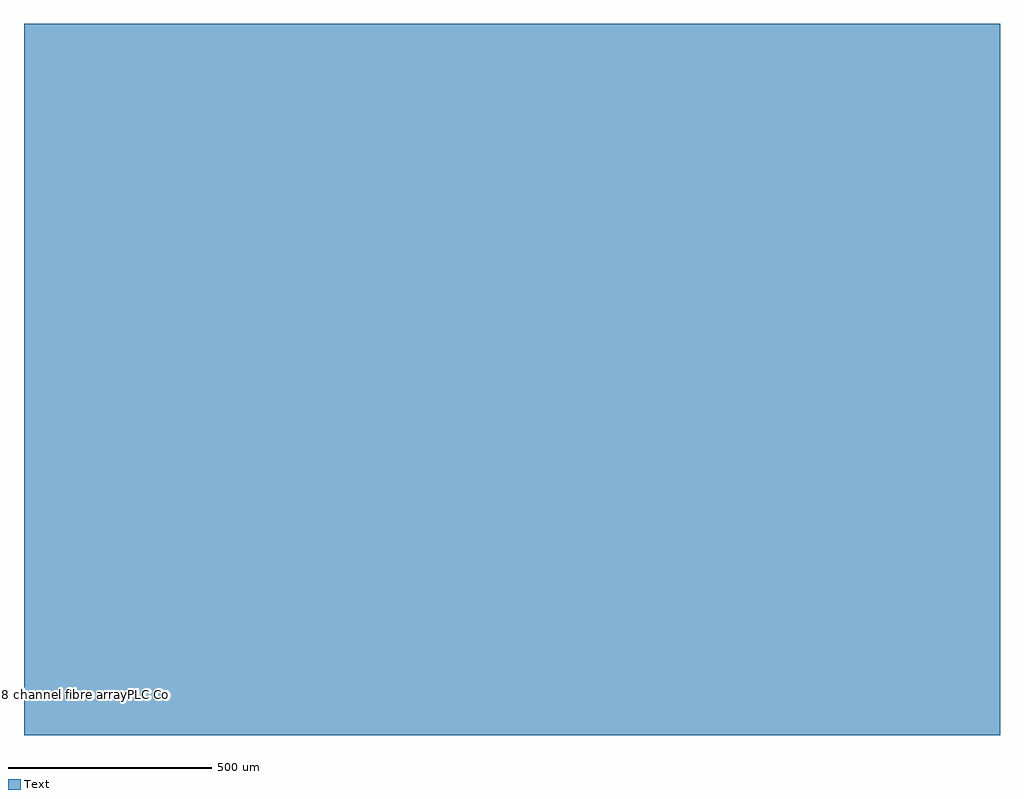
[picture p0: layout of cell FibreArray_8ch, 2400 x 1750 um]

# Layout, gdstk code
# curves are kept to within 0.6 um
import gdstk
lib = gdstk.Library(unit=1e-6, precision=1e-09)
def R(c, l, rs):  # rectangles x0, y0, x1, y1
    for r in rs: c.add(gdstk.rectangle(r[:2], r[2:], *l))
def P(c, l, *ps):  # polygons
    for p in ps: c.add(gdstk.Polygon(p, *l))
Text = (10, 0)

circle_1 = lib.new_cell('CIRCLE$1')
P(circle_1, Text, [(-3.07,-62.5),(-15.205,-60.7),(-26.754,-56.567),(-37.276,-50.261),(-46.365,-42.023),(-53.673,-32.17),(-58.917,-21.081),(-61.898,-9.182),(-62.5,3.07),(-60.7,15.205),(-56.567,26.754),(-50.261,37.276),(-42.023,46.365),(-32.17,53.673),(-21.081,58.917),(-9.182,61.898),(3.07,62.5),(15.205,60.7),(26.754,56.567),(37.276,50.261),(46.365,42.023),(53.673,32.17),(58.917,21.081),(61.898,9.182),(62.5,-3.07),(60.7,-15.205),(56.567,-26.754),(50.261,-37.276),(42.023,-46.365),(32.17,-53.673),(21.081,-58.917),(9.182,-61.898)])

fibrearray_8ch = lib.new_cell('FibreArray_8ch')
R(fibrearray_8ch, Text, [(-1200,-1500,1200,0), (-1200,0,1200,250)])
r = gdstk.Reference(circle_1, (-444.5,0)); r.repetition = gdstk.Repetition(8, 1, v1=(127,0), v2=(0,0)); fibrearray_8ch.add(r)
fibrearray_8ch.add(gdstk.Label('8 channel fibre array\nPLC Connections\n2.4mm x 1.75', (-1150,-1400), layer=10, texttype=0))

lib.write_gds('FibreArray_8ch.gds')
